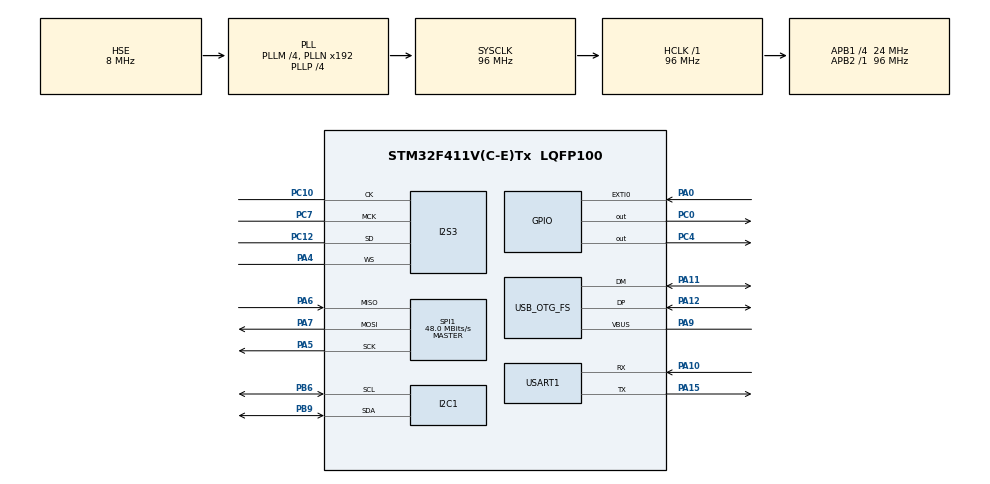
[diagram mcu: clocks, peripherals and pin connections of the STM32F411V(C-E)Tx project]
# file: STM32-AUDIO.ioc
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Dma.Request0=SPI3_TX
Dma.SPI3_TX.0.Direction=DMA_MEMORY_TO_PERIPH
Dma.SPI3_TX.0.FIFOMode=DMA_FIFOMODE_ENABLE
Dma.SPI3_TX.0.FIFOThreshold=DMA_FIFO_THRESHOLD_FULL
Dma.SPI3_TX.0.Instance=DMA1_Stream5
Dma.SPI3_TX.0.MemBurst=DMA_MBURST_SINGLE
Dma.SPI3_TX.0.MemDataAlignment=DMA_MDATAALIGN_HALFWORD
Dma.SPI3_TX.0.MemInc=DMA_MINC_ENABLE
Dma.SPI3_TX.0.Mode=DMA_CIRCULAR
Dma.SPI3_TX.0.PeriphBurst=DMA_PBURST_SINGLE
Dma.SPI3_TX.0.PeriphDataAlignment=DMA_PDATAALIGN_HALFWORD
Dma.SPI3_TX.0.PeriphInc=DMA_PINC_DISABLE
Dma.SPI3_TX.0.Priority=DMA_PRIORITY_LOW
FATFS._MAX_SS=4096
FATFS._USE_LFN=1
I2S3.ErrorAudioFreq=0.15 %
I2S3.FullDuplexMode=I2S_FULLDUPLEXMODE_DISABLE
I2S3.Instance=SPI$Index
I2S3.RealAudioFreq=8.012 KHz
I2S3.VirtualMode=I2S_MODE_MASTER
Mcu.Family=STM32F4
Mcu.Name=STM32F411V(C-E)Tx
Mcu.Package=LQFP100
NVIC.DMA1_Stream5_IRQn=true\:0\:0\:false\:false\:true\:false\:true\:true
NVIC.EXTI0_IRQn=true\:0\:0\:false\:false\:true\:true\:true\:true
NVIC.OTG_FS_IRQn=true\:0\:0\:false\:false\:true\:false\:true\:true
NVIC.PriorityGroup=NVIC_PRIORITYGROUP_4
PA0-WKUP.GPIO_PuPd=GPIO_PULLDOWN
PA0-WKUP.Signal=GPXTI0
PA10.Mode=Asynchronous
PA10.Signal=USART1_RX
PA11.Mode=Host_Only
PA11.Signal=USB_OTG_FS_DM
PA12.Mode=Host_Only
PA12.Signal=USB_OTG_FS_DP
PA15.Mode=Asynchronous
PA15.Signal=USART1_TX
PA4.Mode=Half_Duplex_Master
PA4.Signal=I2S3_WS
PA5.Mode=Full_Duplex_Master
PA5.Signal=SPI1_SCK
PA6.Mode=Full_Duplex_Master
PA6.Signal=SPI1_MISO
PA7.Mode=Full_Duplex_Master
PA7.Signal=SPI1_MOSI
PA9.Mode=Activate_VBUS
PA9.Signal=USB_OTG_FS_VBUS
PB6.Mode=I2C
PB6.Signal=I2C1_SCL
PB9.Mode=I2C
PB9.Signal=I2C1_SDA
PC0.Signal=GPIO_Output
PC10.Mode=Half_Duplex_Master
PC10.Signal=I2S3_CK
PC12.Mode=Half_Duplex_Master
PC12.Signal=I2S3_SD
PC4.Signal=GPIO_Output
PC7.Mode=Master_Clock_Activated
PC7.Signal=I2S3_MCK
PH0\ -\ OSC_IN.Mode=HSE-External-Oscillator
PH0\ -\ OSC_IN.Signal=RCC_OSC_IN
PH1\ -\ OSC_OUT.Mode=HSE-External-Oscillator
PH1\ -\ OSC_OUT.Signal=RCC_OSC_OUT
ProjectManager.HeapSize=0x200
ProjectManager.StackSize=0x400
ProjectManager.TargetToolchain=STM32CubeIDE
RCC.48MHZClocksFreq_Value=48000000
RCC.AHBFreq_Value=96000000
RCC.APB1CLKDivider=RCC_HCLK_DIV4
RCC.APB1Freq_Value=24000000
RCC.APB1TimFreq_Value=48000000
RCC.APB2Freq_Value=96000000
RCC.APB2TimFreq_Value=96000000
RCC.CortexFreq_Value=96000000
RCC.HCLKFreq_Value=96000000
RCC.HSE_VALUE=8000000
RCC.HSI_VALUE=16000000
RCC.LSE_VALUE=32768
RCC.PLLI2SM=5
RCC.PLLI2SN=200
RCC.PLLM=4
RCC.PLLP=RCC_PLLP_DIV4
RCC.PLLQ=8
RCC.SYSCLKFreq_VALUE=96000000
RCC.SYSCLKSource=RCC_SYSCLKSOURCE_PLLCLK
RCC.VCOOutputFreq_Value=384000000
SPI1.CalculateBaudRate=48.0 MBits/s
SPI1.Direction=SPI_DIRECTION_2LINES
SPI1.Mode=SPI_MODE_MASTER
SPI1.VirtualType=VM_MASTER
USART1.VirtualMode=VM_ASYNC
USB_HOST.BSP.number=1
USB_HOST.USBH_HandleTypeDef=hUsbHostFS
USB_HOST.VirtualModeFS=Msc
USB_HOST0.BSP.STBoard=false
USB_HOST0.BSP.api=Unknown
USB_HOST0.BSP.instance=PC0
USB_HOST0.BSP.ip=GPIO
USB_HOST0.BSP.mode=Output
USB_HOST0.BSP.name=Drive_VBUS_FS
USB_HOST0.BSP.solution=PC0
USB_OTG_FS.VirtualMode=Host_Only
USB_OTG_FS.phy_itface=HCD_PHY_EMBEDDED
VP_FATFS_VS_Generic.Mode=User_defined
VP_USB_HOST_VS_USB_HOST_MSC_FS.Mode=MSC_FS
board=custom

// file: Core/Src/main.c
/* USER CODE BEGIN Header */
/**
  ******************************************************************************
  * @file           : main.c
  * @brief          : Main program body
  ******************************************************************************
  * @attention
  *
  * Copyright (c) 2022 STMicroelectronics.
  * All rights reserved.
  *
  * This software is licensed under terms that can be found in the LICENSE file
  * in the root directory of this software component.
  * If no LICENSE file comes with this software, it is provided AS-IS.
  *
  ******************************************************************************
  */
/* USER CODE END Header */
#include "main.h"
#include "fatfs.h"
#include "usb_host.h"

/* USER CODE BEGIN Includes */
#include "waveplayer.h"
#include "File_Handling.h"
#include <stdio.h>
#include <string.h>
#include <stdbool.h>
/* USER CODE END Includes */

I2C_HandleTypeDef hi2c1;

I2S_HandleTypeDef hi2s3;
DMA_HandleTypeDef hdma_spi3_tx;

SPI_HandleTypeDef hspi1;

UART_HandleTypeDef huart1;

void SystemClock_Config(void);
static void MX_GPIO_Init(void);
static void MX_DMA_Init(void);
static void MX_I2C1_Init(void);
static void MX_I2S3_Init(void);
static void MX_USART1_UART_Init(void);
static void MX_SPI1_Init(void);
void MX_USB_HOST_Process(void);

/* USER CODE BEGIN PFP */
void read_SD_card(void);
/* USER CODE END PFP */

/* USER CODE BEGIN 0 */
extern ApplicationTypeDef Appli_state;
extern AUDIO_PLAYBACK_StateTypeDef AudioState;

int IsFinished = 0;

void HAL_GPIO_EXTI_Callback(uint16_t GPIO_Pin)
{
	if(GPIO_Pin == GPIO_PIN_0){
		AudioState = AUDIO_STATE_NEXT;
		/*
		if(AudioState == AUDIO_STATE_PLAY){
			AudioState = AUDIO_STATE_PAUSE;
		}
		*/
	}
}
/* USER CODE END 0 */

int main(void)
{

  /* MCU Configuration--------------------------------------------------------*/

  /* Reset of all peripherals, Initializes the Flash interface and the Systick. */
  HAL_Init();

  /* Configure the system clock */
  SystemClock_Config();

  /* Initialize all configured peripherals */
  MX_GPIO_Init();
  MX_DMA_Init();
  MX_I2C1_Init();
  MX_I2S3_Init();
  MX_FATFS_Init();
  MX_USB_HOST_Init();
  MX_USART1_UART_Init();
  MX_SPI1_Init();
  AUDIO_PLAYER_Init();
  /* USER CODE BEGIN 2 */
  FATFS       FatFs;                //Fatfs handle
  FRESULT     fres;                 //Result after operations

  printf("Beginning the SD card mounting\r\n");

  //Mount the SD Card
  fres = f_mount(&FatFs, "", 1);    //1=mount now
  if (fres != FR_OK)
  {
	  printf("No SD Card found : (%d)\r\n", fres);
	  while(1);
  }
  else{
	  printf("SD Card Mounted Successfully!!!\r\n");
  }

  printf("Start playing the song\r\n");
  AUDIO_PLAYER_Start(0);

  while (!IsFinished)
  {
	AUDIO_PLAYER_Process(TRUE);

	if (AudioState == AUDIO_STATE_STOP)
	{
		IsFinished = 1;
	}
  }

  if(AudioState == AUDIO_STATE_STOP){
	  //We're done, so de-mount the drive
	  f_mount(NULL, "", 0);
	  printf("SD Card Unmounted Successfully!!!\r\n");
  }

  /* USER CODE END 2 */

  /* Infinite loop */
  while (1)
  {
    MX_USB_HOST_Process();

  }
}

void SystemClock_Config(void)
{
  RCC_OscInitTypeDef RCC_OscInitStruct = {0};
  RCC_ClkInitTypeDef RCC_ClkInitStruct = {0};

  /** Configure the main internal regulator output voltage
  */
  __HAL_RCC_PWR_CLK_ENABLE();
  __HAL_PWR_VOLTAGESCALING_CONFIG(PWR_REGULATOR_VOLTAGE_SCALE1);

  /** Initializes the RCC Oscillators according to the specified parameters
  * in the RCC_OscInitTypeDef structure.
  */
  RCC_OscInitStruct.OscillatorType = RCC_OSCILLATORTYPE_HSE;
  RCC_OscInitStruct.HSEState = RCC_HSE_ON;
  RCC_OscInitStruct.PLL.PLLState = RCC_PLL_ON;
  RCC_OscInitStruct.PLL.PLLSource = RCC_PLLSOURCE_HSE;
  RCC_OscInitStruct.PLL.PLLM = 4;
  RCC_OscInitStruct.PLL.PLLN = 192;
  RCC_OscInitStruct.PLL.PLLP = RCC_PLLP_DIV4;
  RCC_OscInitStruct.PLL.PLLQ = 8;
  if (HAL_RCC_OscConfig(&RCC_OscInitStruct) != HAL_OK)
  {
    Error_Handler();
  }

  /** Initializes the CPU, AHB and APB buses clocks
  */
  RCC_ClkInitStruct.ClockType = RCC_CLOCKTYPE_HCLK|RCC_CLOCKTYPE_SYSCLK
                              |RCC_CLOCKTYPE_PCLK1|RCC_CLOCKTYPE_PCLK2;
  RCC_ClkInitStruct.SYSCLKSource = RCC_SYSCLKSOURCE_PLLCLK;
  RCC_ClkInitStruct.AHBCLKDivider = RCC_SYSCLK_DIV1;
  RCC_ClkInitStruct.APB1CLKDivider = RCC_HCLK_DIV4;
  RCC_ClkInitStruct.APB2CLKDivider = RCC_HCLK_DIV1;

  if (HAL_RCC_ClockConfig(&RCC_ClkInitStruct, FLASH_LATENCY_3) != HAL_OK)
  {
    Error_Handler();
  }
}

static void MX_I2C1_Init(void)
{

  hi2c1.Instance = I2C1;
  hi2c1.Init.ClockSpeed = 100000;
  hi2c1.Init.DutyCycle = I2C_DUTYCYCLE_2;
  hi2c1.Init.OwnAddress1 = 0;
  hi2c1.Init.AddressingMode = I2C_ADDRESSINGMODE_7BIT;
  hi2c1.Init.DualAddressMode = I2C_DUALADDRESS_DISABLE;
  hi2c1.Init.OwnAddress2 = 0;
  hi2c1.Init.GeneralCallMode = I2C_GENERALCALL_DISABLE;
  hi2c1.Init.NoStretchMode = I2C_NOSTRETCH_DISABLE;
  if (HAL_I2C_Init(&hi2c1) != HAL_OK)
  {
    Error_Handler();
  }

}

static void MX_I2S3_Init(void)
{

  hi2s3.Instance = SPI3;
  hi2s3.Init.Mode = I2S_MODE_MASTER_TX;
  hi2s3.Init.Standard = I2S_STANDARD_PHILIPS;
  hi2s3.Init.DataFormat = I2S_DATAFORMAT_16B;
  hi2s3.Init.MCLKOutput = I2S_MCLKOUTPUT_ENABLE;
  hi2s3.Init.AudioFreq = I2S_AUDIOFREQ_8K;
  hi2s3.Init.CPOL = I2S_CPOL_LOW;
  hi2s3.Init.ClockSource = I2S_CLOCK_PLL;
  hi2s3.Init.FullDuplexMode = I2S_FULLDUPLEXMODE_DISABLE;
  if (HAL_I2S_Init(&hi2s3) != HAL_OK)
  {
    Error_Handler();
  }

}

static void MX_SPI1_Init(void)
{

  /* SPI1 parameter configuration*/
  hspi1.Instance = SPI1;
  hspi1.Init.Mode = SPI_MODE_MASTER;
  hspi1.Init.Direction = SPI_DIRECTION_2LINES;
  hspi1.Init.DataSize = SPI_DATASIZE_8BIT;
  hspi1.Init.CLKPolarity = SPI_POLARITY_LOW;
  hspi1.Init.CLKPhase = SPI_PHASE_1EDGE;
  hspi1.Init.NSS = SPI_NSS_SOFT;
  hspi1.Init.BaudRatePrescaler = SPI_BAUDRATEPRESCALER_256;
  hspi1.Init.FirstBit = SPI_FIRSTBIT_MSB;
  hspi1.Init.TIMode = SPI_TIMODE_DISABLE;
  hspi1.Init.CRCCalculation = SPI_CRCCALCULATION_DISABLE;
  hspi1.Init.CRCPolynomial = 10;
  if (HAL_SPI_Init(&hspi1) != HAL_OK)
  {
    Error_Handler();
  }

}

static void MX_USART1_UART_Init(void)
{

  huart1.Instance = USART1;
  huart1.Init.BaudRate = 115200;
  huart1.Init.WordLength = UART_WORDLENGTH_8B;
  huart1.Init.StopBits = UART_STOPBITS_1;
  huart1.Init.Parity = UART_PARITY_NONE;
  huart1.Init.Mode = UART_MODE_TX_RX;
  huart1.Init.HwFlowCtl = UART_HWCONTROL_NONE;
  huart1.Init.OverSampling = UART_OVERSAMPLING_16;
  if (HAL_UART_Init(&huart1) != HAL_OK)
  {
    Error_Handler();
  }

}

static void MX_DMA_Init(void)
{

  /* DMA controller clock enable */
  __HAL_RCC_DMA1_CLK_ENABLE();

  /* DMA interrupt init */
  /* DMA1_Stream5_IRQn interrupt configuration */
  HAL_NVIC_SetPriority(DMA1_Stream5_IRQn, 0, 0);
  HAL_NVIC_EnableIRQ(DMA1_Stream5_IRQn);

}

static void MX_GPIO_Init(void)
{
  GPIO_InitTypeDef GPIO_InitStruct = {0};

  /* GPIO Ports Clock Enable */
  __HAL_RCC_GPIOH_CLK_ENABLE();
  __HAL_RCC_GPIOC_CLK_ENABLE();
  __HAL_RCC_GPIOA_CLK_ENABLE();
  __HAL_RCC_GPIOB_CLK_ENABLE();

  /*Configure GPIO pin Output Level */
  HAL_GPIO_WritePin(GPIOC, GPIO_PIN_0|GPIO_PIN_4, GPIO_PIN_RESET);

  /*Configure GPIO pins : PC0 PC4 */
  GPIO_InitStruct.Pin = GPIO_PIN_0|GPIO_PIN_4;
  GPIO_InitStruct.Mode = GPIO_MODE_OUTPUT_PP;
  GPIO_InitStruct.Pull = GPIO_NOPULL;
  GPIO_InitStruct.Speed = GPIO_SPEED_FREQ_LOW;
  HAL_GPIO_Init(GPIOC, &GPIO_InitStruct);

  /*Configure GPIO pin : PA0 */
  GPIO_InitStruct.Pin = GPIO_PIN_0;
  GPIO_InitStruct.Mode = GPIO_MODE_IT_RISING;
  GPIO_InitStruct.Pull = GPIO_PULLDOWN;
  HAL_GPIO_Init(GPIOA, &GPIO_InitStruct);

  /* EXTI interrupt init*/
  HAL_NVIC_SetPriority(EXTI0_IRQn, 0, 0);
  HAL_NVIC_EnableIRQ(EXTI0_IRQn);

}

/* USER CODE BEGIN 4 */
/* USER CODE BEGIN 4 */
#ifdef __GNUC__
  /* With GCC, small printf (option LD Linker->Libraries->Small printf
     set to 'Yes') calls __io_putchar() */
int __io_putchar(int ch)
#else
int fputc(int ch, FILE *f)
#endif /* __GNUC__ */
{
  /* Place your implementation of fputc here */
  /* e.g. write a character to the UART3 and Loop until the end of transmission */
  HAL_UART_Transmit(&huart1, (uint8_t *)&ch, 1, HAL_MAX_DELAY);
  return ch;
}

void read_SD_card(void)
{
	FATFS       FatFs;                //Fatfs handle
	FIL         fil;                  //File handle
	FRESULT     fres;                 //Result after operations
	FILINFO 	fno;
	DIR 		dir;
	BYTE 		buff[512];     /* File read buffer */

	printf("Beginning the SD card mounting\r\n");

	do{
		//Mount the SD Card
		fres = f_mount(&FatFs, "", 1);    //1=mount now
		if (fres != FR_OK)
		{
		  printf("No SD Card found : (%d)\r\n", fres);
		  break;
		}
		printf("SD Card Mounted Successfully!!!\r\n");

		fres = f_opendir(&dir, "/");
	    if (fres == FR_OK) {

			for (;;) {
				fres = f_readdir(&dir, &fno);
				if (fres != FR_OK || fno.fname[0] == 0){
					printf("No more files found\r\n");
					break;
				}
				printf("reading file /%s ...\r\n",fno.fname);

				/* open the scanned file */
				fres = f_open(&fil, fno.fname, FA_READ);
				if (fres != FR_OK){
					printf("Error: failed to open %s\r\n", fno.fname);
					continue;
				}

				/* Read data to the memory */
				while(f_gets(buff, sizeof(buff), &fil)){
					printf("%s\r\n", buff);
				}
			}
	    }
	}while(false);

	 //We're done, so de-mount the drive
	 f_mount(NULL, "", 0);
	 printf("SD Card Unmounted Successfully!!!\r\n");
}

/* USER CODE END 4 */

void Error_Handler(void)
{
  __disable_irq();
  while (1)
  {
  }
}
